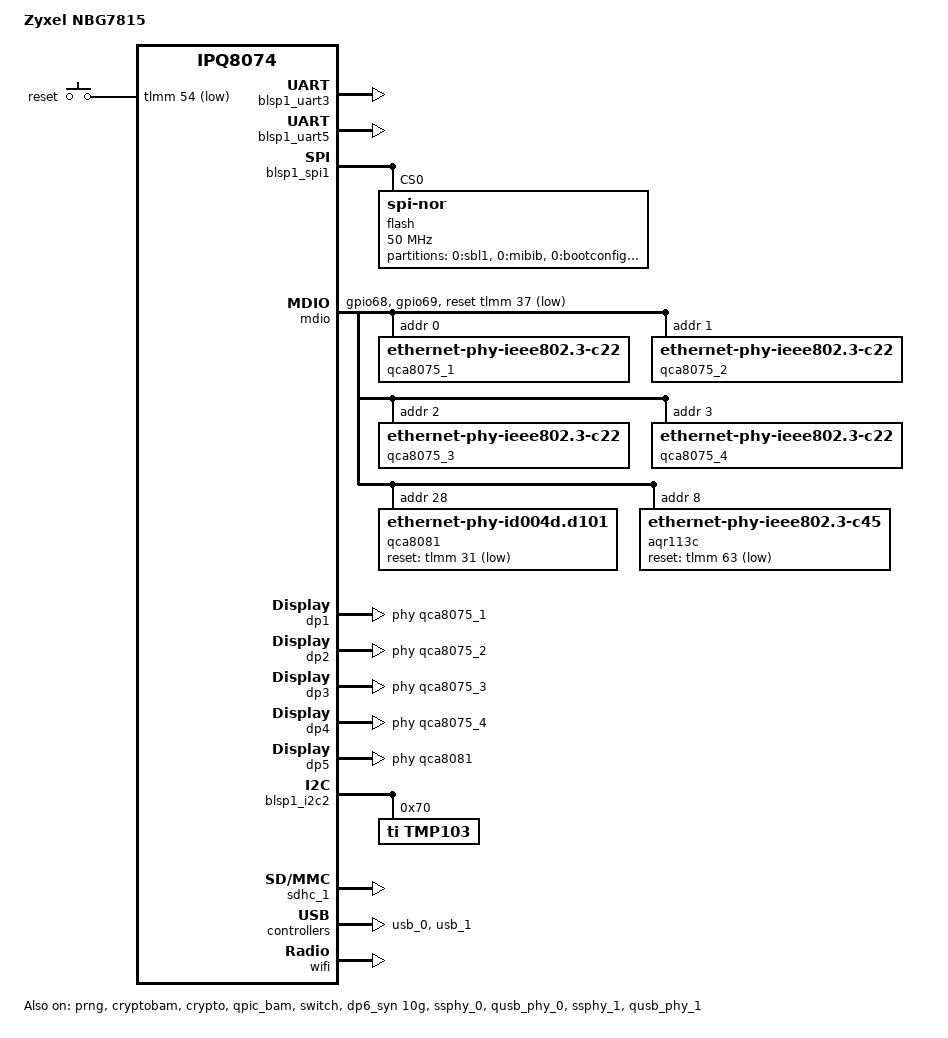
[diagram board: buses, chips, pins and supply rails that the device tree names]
// SPDX-License-Identifier: GPL-2.0-or-later OR MIT
/*
 * Copyright (c) 2022, Karol Przybylski <itor@o2.pl>
 * Copyright (c) 2023, Andre Valentin <avalentin@marcant.net>
 */

/dts-v1/;

#include "ipq8074.dtsi"
#include "ipq8074-hk-cpu.dtsi"
#include "ipq8074-ess.dtsi"
#include "ipq8074-nss.dtsi"
#include <dt-bindings/gpio/gpio.h>
#include <dt-bindings/leds/common.h>
#include <dt-bindings/input/input.h>

/ {
	model = "Zyxel NBG7815";
	compatible = "zyxel,nbg7815", "qcom,ipq8074";

	aliases {
		serial0 = &blsp1_uart5;
		serial1 = &blsp1_uart3;
		/* Alias as required by u-boot to patch MAC addresses */
		ethernet0 = &dp1;
		label-mac-device = &dp1;
	};

	chosen {
		stdout-path = "serial0:115200n8";
	};

	keys {
		compatible = "gpio-keys";

		reset {
			label = "reset";
			linux,code = <KEY_RESTART>;
			gpios = <&tlmm 54 GPIO_ACTIVE_LOW>;
		};
	};
};

&tlmm {
	mdio_pins: mdio-pins {
		mdc {
			pins = "gpio68";
			function = "mdc";
			drive-strength = <8>;
			bias-pull-up;
		};

		mdio {
			pins = "gpio69";
			function = "mdio";
			drive-strength = <8>;
			bias-pull-up;
		};
	};
};

&blsp1_uart3 {
	status = "okay";
};

&blsp1_uart5 {
	status = "okay";
};

&prng {
	status = "okay";
};

&cryptobam {
	status = "okay";
};

&crypto {
	status = "okay";
};

&qpic_bam {
	status = "okay";
};

&blsp1_spi1 {
	pinctrl-0 = <&spi_0_pins>;
	pinctrl-names = "default";
	cs-gpios = <0>;
	status = "okay";

	partitions {
		status = "disabled";
	};

	flash@0 {
		#address-cells = <1>;
		#size-cells = <1>;
		reg = <0>;
		compatible = "jedec,spi-nor";
		spi-max-frequency = <50000000>;

		partitions {
			compatible = "fixed-partitions";
			#address-cells = <1>;
			#size-cells = <1>;

			partition@0 {
				label = "0:sbl1";
				reg = <0x0 0x50000>;
				read-only;
			};

			partition@50000 {
				label = "0:mibib";
				reg = <0x50000 0x10000>;
				read-only;
			};

			partition@60000 {
				label = "0:bootconfig";
				reg = <0x60000 0x20000>;
				read-only;
			};

			partition@80000 {
				label = "0:bootconfig1";
				reg = <0x80000 0x20000>;
				read-only;
			};

			partition@a0000 {
				label = "0:qsee";
				reg = <0xa0000 0x180000>;
				read-only;
			};

			partition@220000 {
				label = "0:qsee_1";
				reg = <0x220000 0x180000>;
				read-only;
			};

			partition@3a0000 {
				label = "0:devcfg";
				reg = <0x3a0000 0x10000>;
				read-only;
			};

			partition@3b0000 {
				label = "0:devcfg_1";
				reg = <0x3b0000 0x10000>;
				read-only;
			};

			partition@3c0000 {
				label = "0:apdp";
				reg = <0x3c0000 0x10000>;
				read-only;
			};

			partition@3d0000 {
				label = "0:apdp_1";
				reg = <0x3d0000 0x10000>;
				read-only;
			};

			partition@3e0000 {
				label = "0:rpm";
				reg = <0x3e0000 0x40000>;
				read-only;
			};

			partition@420000 {
				label = "0:rpm_1";
				reg = <0x420000 0x40000>;
				read-only;
			};

			partition@460000 {
				label = "0:cdt";
				reg = <0x460000 0x10000>;
				read-only;
			};

			partition@470000 {
				label = "0:cdt_1";
				reg = <0x470000 0x10000>;
				read-only;
			};

			partition@480000 {
				label = "0:appsbl";
				reg = <0x480000 0xc0000>;
				read-only;
			};

			partition@540000 {
				label = "0:appsbl_1";
				reg = <0x540000 0xc0000>;
				read-only;
			};

			partition@600000 {
				compatible = "u-boot,env";
				label = "0:appsblenv";
				reg = <0x600000 0x10000>;

				macaddr_lan: ethaddr {
					#nvmem-cell-cells = <1>;
				};
			};

			partition@610000 {
				label = "0:art";
				reg = <0x610000 0x40000>;
				read-only;
			};

			partition@650000 {
				label = "0:ethphyfw";
				reg = <0x650000 0x80000>;
				read-only;
			};

			partition@6d0000 {
				label = "0:crt";
				reg = <0x6d0000 0x10000>;
				read-only;
			};

			partition@6e0000 {
				label = "dual_flag";
				reg = <0x6e0000 0x10000>;
			};

			partition@6f0000 {
				label = "reserved";
				reg = <0x6f0000 0x110000>;
				read-only;
			};
		};
	};
};

&mdio {
	status = "okay";
	pinctrl-0 = <&mdio_pins>;
	pinctrl-names = "default";
	reset-gpios = <&tlmm 37 GPIO_ACTIVE_LOW>;

	qca8075_1: ethernet-phy@0 {
		compatible = "ethernet-phy-ieee802.3-c22";
		reg = <0>;
	};

	qca8075_2: ethernet-phy@1 {
		compatible = "ethernet-phy-ieee802.3-c22";
		reg = <1>;
	};

	qca8075_3: ethernet-phy@2 {
		compatible = "ethernet-phy-ieee802.3-c22";
		reg = <2>;
	};

	qca8075_4: ethernet-phy@3 {
		compatible = "ethernet-phy-ieee802.3-c22";
		reg = <3>;
	};

	qca8081: ethernet-phy@4{
		compatible = "ethernet-phy-id004d.d101";
		reg = <28>;
		reset-gpios = <&tlmm 31 GPIO_ACTIVE_LOW>;
	};

	aqr113c: ethernet-phy@5 {
		compatible = "ethernet-phy-ieee802.3-c45";
		reg = <8>;
		reset-gpios = <&tlmm 63 GPIO_ACTIVE_LOW>;
	};
};

&switch {
	status = "okay";

	switch_cpu_bmp = <0x1>;
	switch_lan_bmp = <0x3e>;
	switch_wan_bmp = <0x40>;
	switch_mac_mode = <0x0>;
	switch_mac_mode1 = <0xf>;
	switch_mac_mode2 = <0xd>;
	bm_tick_mode = <0>;
	tm_tick_mode = <0>;

	qcom,port_phyinfo {
		port@0 {
			port_id = <1>;
			phy_address = <0>;
		};

		port@1 {
			port_id = <2>;
			phy_address = <1>;
		};

		port@2 {
			port_id = <3>;
			phy_address = <2>;
		};

		port@3 {
			port_id = <4>;
			phy_address = <3>;
		};

		port@4 {
			port_id = <5>;
			phy_address = <28>;
			port_mac_sel = "QGMAC_PORT";
		};

		port@5 {
			port_id = <6>;
			ethernet-phy-ieee802.3-c45;
			phy_address = <8>;
		};
	};
};

&edma {
	status = "okay";
};

&dp1 {
	status = "okay";
	phy-handle = <&qca8075_1>;
	label = "lan1";
	nvmem-cells = <&macaddr_lan 0>;
	nvmem-cell-names = "mac-address";
};

&dp2 {
	status = "okay";
	phy-handle = <&qca8075_2>;
	label = "lan2";
	nvmem-cells = <&macaddr_lan 0>;
	nvmem-cell-names = "mac-address";
};

&dp3 {
	status = "okay";
	phy-handle = <&qca8075_3>;
	label = "lan3";
	nvmem-cells = <&macaddr_lan 0>;
	nvmem-cell-names = "mac-address";
};

&dp4 {
	status = "okay";
	phy-handle = <&qca8075_4>;
	label = "lan4";
	nvmem-cells = <&macaddr_lan 0>;
	nvmem-cell-names = "mac-address";
};

&dp5 {
	status = "okay";
	phy-handle = <&qca8081>;
	label = "wan";
	nvmem-cells = <&macaddr_lan 1>;
	nvmem-cell-names = "mac-address";
};

&dp6_syn {
	status = "okay";
	phy-handle = <&aqr113c>;
	label = "10g";
	nvmem-cells = <&macaddr_lan 0>;
	nvmem-cell-names = "mac-address";
};

&blsp1_i2c2 {
	pinctrl-0 = <&i2c_0_pins>;
	pinctrl-names = "default";
	status = "okay";

	tmp103@70 {
		compatible = "ti,tmp103";
		reg = <0x70>;
	};
};

&sdhc_1 {
	status = "okay";
	/* unstable, problem with the hs400 > h200 speed switch */
	/delete-property/ mmc-hs400-1_8v;
	mmc-hs200-1_8v;
	mmc-ddr-1_8v;
	vqmmc-supply = <&l11>;
};

&ssphy_0 {
	status = "okay";
};

&qusb_phy_0 {
	status = "okay";
};

&ssphy_1 {
	status = "okay";
};

&qusb_phy_1 {
	status = "okay";
};

&usb_0 {
	status = "okay";
};

&usb_1 {
	status = "okay";
};

&wifi {
	status = "okay";

	qcom,ath11k-calibration-variant = "Zyxel-NBG7815";
};
